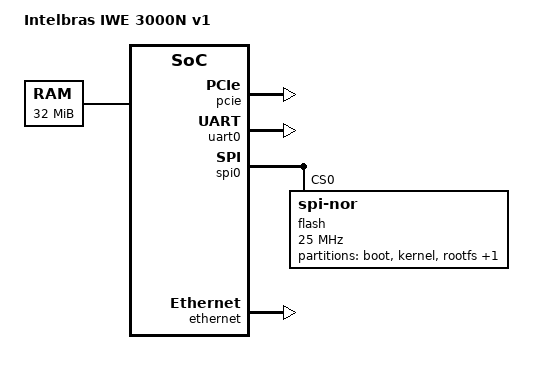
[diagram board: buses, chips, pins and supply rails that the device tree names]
// SPDX-License-Identifier: GPL-2.0
/*
 * Intelbras IWE 3000N v1 — RealTek RTL8196E Wi-Fi repeater.
 *
 * DRAFT. Not built, not booted. Derived from jnilo1/rtl8196e-gateway's
 * rtl8196e.dts (Lidl Silvercrest) with the board-specific parts replaced by
 * what was measured on the real unit; everything still unknown is marked TODO
 * rather than guessed.
 *
 * Measured on hardware, safe to rely on:
 *   - 32 MB DRAM on a 16-bit bus (loader banner "[16bit]", kernel "memory:
 *     02000000 @ 00000000")
 *   - console ttyS0 at 38400, from the stock kernel command line
 *   - Winbond W25Q32, JEDEC 0xEF4016, 4 MB, and the kernel logs
 *     "Force into Single IO Mode"
 *   - the LAN jack is a VLAN on the SoC switch, not a lone PHY:
 *     eth0 vid=9 member port 0x10f, eth1 vid=8 member port 0x110
 *
 * Not measured, deliberately absent:
 *   - LED and button GPIOs, now traced from the stock firmware: gpio 4 is the
 *     WPS button, gpio 13 the red LED, gpio 14 the blue LED. Exposed through
 *     &gpio0 below and driven from userspace (see files/rootfs). A wrong node
 *     is worse than having none.
 *   - There is no EFR32 radio on this board, so the upstream radio-bridge node
 *     is dropped rather than adapted.
 */
/dts-v1/;
#include <dt-bindings/gpio/gpio.h>
#include "rtl819x.dtsi"

/ {
	compatible = "realtek,rtl8196e", "realtek,rtl819x-soc";
	model = "Intelbras IWE 3000N v1";

	chosen {
		bootargs = "console=ttyS0,38400 loglevel=7 root=/dev/mtdblock2 rootfstype=squashfs rtl8192ee.ips=0 rtl8192ee.fwlps=0 rtl8192ee.swlps=0";
	};

	memory@0 {
		device_type = "memory";
		reg = <0x00000000 0x02000000>;	/* 32 MB, 16-bit bus */
	};

	reserved-memory {
		#address-cells = <1>;
		#size-cells = <1>;
		ranges;

		/*
		 * Kept at the upstream addresses. `boothold` is a contract with
		 * jnilo1's replacement bootloader, which this board does NOT use --
		 * we keep the stock RealTek loader because mtd0 also holds this
		 * unit's MAC and RF calibration. Harmless to reserve; revisit if
		 * the 32 MB top ever needs reclaiming.
		 */
		boothold: boothold@1ffe000 {
			reg = <0x01FFE000 0x1000>;
			no-map;
		};

		wdtcrash: watchdog-crash@1ffd000 {
			reg = <0x01FFD000 0x1000>;
			no-map;
		};
	};

	/* LEDs are driven from userspace over /sys/class/gpio; see &gpio0. */
};

&uart0 {
	status = "okay";
};

&spi0 {
	status = "okay";

	flash@0 {
		compatible = "jedec,spi-nor";
		reg = <0>;
		/*
		 * The stock kernel reports the controller forced to single-IO and
		 * the vendor table shows chip_clk 0x4e. 25 MHz matches upstream and
		 * is conservative; raise only with evidence.
		 */
		spi-max-frequency = <25000000>;

		partitions {
			compatible = "fixed-partitions";
			#address-cells = <1>;
			#size-cells = <1>;

			/*
			 * ⚠ 64 KB, read-only, and it must stay that way. Besides the
			 * bootloader this holds the H601 factory block at 0x6000 --
			 * two copies of the MAC (D8:77:8B:xx:xx:xx) and what looks
			 * like per-channel TX power calibration. There is no separate
			 * MAC partition on this board and nothing can regenerate it.
			 */
			partition@0 {
				label = "boot";
				reg = <0x000000 0x010000>;
				read-only;
			};

			/*
			 * Everything below differs from stock, which split this region
			 * 1028 KB kernel / 2.93 MB rootfs. A 6.18 kernel image is
			 * 1408 KB, so the boundary has to move.
			 */
			/*
			 * The boundary is 0x200000 because that is where the
			 * rootfs tooling burns (33-Rootfs/build_rootfs.sh
			 * passes -b 0x200000) and matching it costs nothing.
			 * It also leaves the kernel more room: the 6.18 image
			 * with CONFIG_PCI is 1480 KiB, so 1984 KiB is 75%
			 * used rather than 89%.
			 */
			partition@10000 {
				label = "kernel";
				reg = <0x010000 0x1F0000>;	/* 1984 KB */
			};

			partition@200000 {
				label = "rootfs";
				reg = <0x200000 0x190000>;	/* 1600 KB */
			};

			partition@390000 {
				label = "rootfs_data";
				reg = <0x390000 0x070000>;	/* 448 KB, ~= stock's 440 KB */
			};
		};
	};
};

/*
 * PCIe host, for the on-board RTL8192EE (10ec:818b).
 *
 * jnilo1's tree has no PCI support at all, so this node goes with
 * files/drivers/pci/controller/pci-rtl819x.c.
 *
 * The `soc` bus node in rtl819x.dtsi has no label, so it is re-opened through
 * the root. soc's ranges are <0x00000000 0x18000000 0x04000000>, so addresses
 * here are bus-relative: 0x00b00000 is physical 0x18b00000.
 *
 * Verified on hardware: this brings the link to LTSSM 0x11 and config dword 0
 * reads 0x818b10ec.
 */
/ {
	soc {
		pcie: pcie@b00000 {
			compatible = "realtek,rtl819x-pcie";
			reg = <0x00b00000 0x1000>,
			      <0x00b10000 0x1000>,
			      <0x00b01000 0x1000>;
			reg-names = "rc-cfg", "dev-cfg", "phy";

			/*
			 * The PCIe IP enable, the RTL8196E clock bits and PERST
			 * are all in the system controller's CLK_MANAGE, not in
			 * the PCIe block. Without the IP enable the block does
			 * not decode at all.
			 */
			realtek,syscon = <&sysc>;

			device_type = "pci";
			#address-cells = <3>;
			#size-cells = <2>;
			bus-range = <0x00 0x01>;

			/*
			 * ONE window, memory, at the memory aperture. From the
			 * RTL8196E's own bspchip.h:
			 *
			 *   BSP_PCIE0_D_IO  0xB8C00000  -> phys 0x18C00000
			 *   BSP_PCIE0_D_MEM 0xB9000000  -> phys 0x19000000
			 *
			 * The endpoint's MMIO BAR (BAR 2, the only one rtl8192ee
			 * uses) must land in the *memory* aperture so CPU reads
			 * reach it as memory transactions. The very first version
			 * of this node declared 0x18c00000 as memory; that is the
			 * I/O aperture, so BAR 2 was assigned there, every
			 * register access went out as an I/O TLP instead of a
			 * memory one, and the driver failed with
			 * "rtl8192ee: Init MAC failed" while the link trained and
			 * config space read fine throughout.
			 *
			 * No I/O range is declared, deliberately. The RTL8192EE
			 * advertises a 0x100-byte I/O BAR (BAR 0) that the driver
			 * never touches; leaving it unassigned costs nothing but a
			 * warning. Declaring an I/O range instead makes the
			 * generic host-bridge code call devm_pci_remap_iospace()
			 * -> vmap_page_range(), which BUGs on this Lexra MIPS --
			 * it has no PCI_IOBASE fixmap region to map the aperture
			 * into (kernel BUG at vmap_page_range, probe never
			 * returns). Memory-only is both sufficient and safe.
			 *
			 * Parent address is soc-bus-relative: soc's ranges are
			 * <0 0x18000000 0x04000000>, so 0x01000000 here is
			 * physical 0x19000000.
			 */
			ranges = <0x02000000 0x0 0x19000000
				  0x01000000
				  0x0 0x01000000>;

			#interrupt-cells = <1>;
			interrupt-map-mask = <0 0 0 0>;
			/*
			 * The RTL8192EE's single INTA maps to the SoC intc at the
			 * PCIe GIMR/GISR bit, which is 21 -- NOT 14. 14 is the
			 * vendor's flat Linux-irq number for PCIe (bspchip.h
			 * BSP_PCIE_IRQ); the mainline realtek,rtl819x-intc uses the
			 * GIMR bit as its hwirq (ethernet is bit 15 = "interrupts =
			 * <15>"), and BSP_PCIE_IE is (1 << 21). Routing it to 14
			 * unmasked the wrong GIMR bit, so the endpoint asserted INTA
			 * forever (config status bit 3) while the CPU never saw it
			 * and the interrupt-driven beacon path never ran. The intc
			 * also has to route bit 21 to a CPU IP line; see the
			 * irq-rtl819x IRR2 patch.
			 */
			interrupt-map = <0 0 0 0 &intc 21>;

			status = "okay";
		};
	};
};

&ethernet {
	status = "okay";
	#address-cells = <1>;
	#size-cells = <0>;

	/*
	 * No lan-led-gpios here. Upstream's Lidl board drives a LAN LED from
	 * gpio0 14, but on this board line 14 is the blue panel LED (read from
	 * the stock firmware) and userspace owns it -- see &gpio0 below. Which
	 * line, if any, reflects link state here was never traced.
	 *
	 * The stock firmware brings up eth0 on vid 9 (member port 0x10f) and
	 * eth1 on vid 8 (member port 0x110), with peth0 mapped to eth1 and the
	 * single jack carrying eth1. Mirror that here once the upstream
	 * interface@N binding is understood.
	 */
};

&gpio0 {
	/*
	 * The SoC GPIO controller. Enabled so userspace can reach the panel
	 * button and LEDs over /sys/class/gpio (GPIO_SYSFS_LEGACY). Line names
	 * were read from the stock firmware's /sys/kernel/debug/gpio:
	 *   gpio 4  = WPS button (input, active low)
	 *   gpio 13 = red LED    (output)
	 *   gpio 14 = blue LED   (output)
	 * The rootfs drives these directly (see files/rootfs/sbin/led and
	 * etc/init.d/S60button); no gpio-keys/gpio-leds nodes, to keep the
	 * kernel under the loader's size ceiling.
	 */
	status = "okay";
	gpio-line-names =
		"", "", "", "",					/* 0-3   */
		"wps-button", "", "", "",			/* 4-7   */
		"", "", "", "",					/* 8-11  */
		"", "red-led", "blue-led", "";			/* 12-15 */
};
